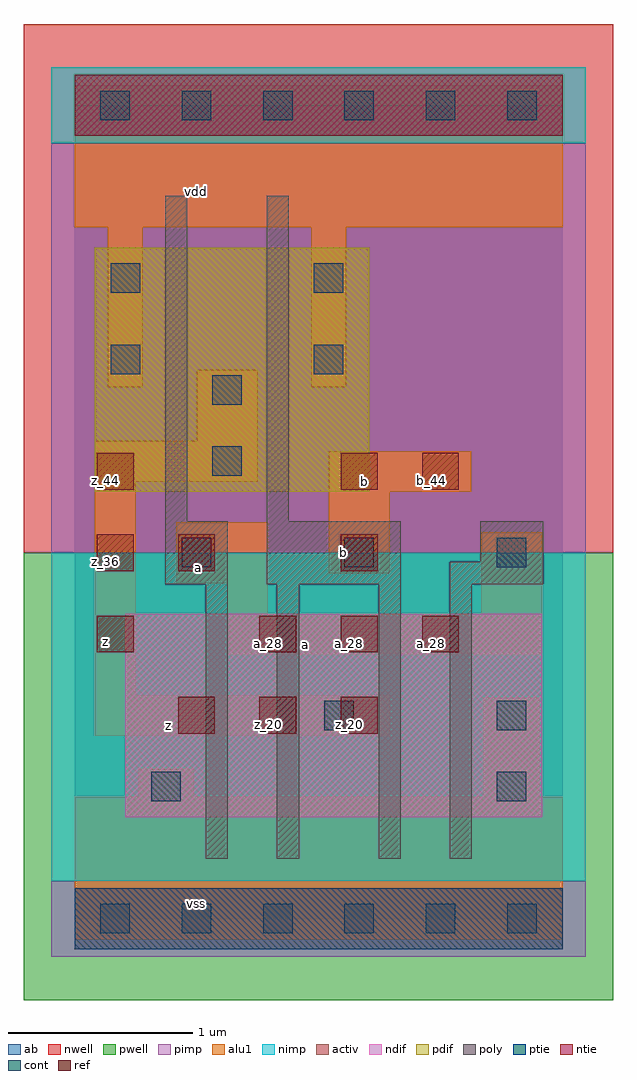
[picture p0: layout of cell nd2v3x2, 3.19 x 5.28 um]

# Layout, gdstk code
import gdstk
lib = gdstk.Library(unit=1e-6, precision=2.5e-09)
def R(c, l, rs):  # rectangles x0, y0, x1, y1
    for r in rs: c.add(gdstk.rectangle(r[:2], r[2:], *l))
def A(c, l, x, y, w, h, nx, ny, dx, dy):  # array of equal rectangles
    R(c, l, [(x+i*dx, y+j*dy, x+i*dx+w, y+j*dy+h) for i in range(nx) for j in range(ny)])
ndif = (3, 0)
pdif = (4, 0)
ntie = (5, 0)
ptie = (6, 0)
ref = (24, 0)
cont = (25, 0)
pwell = (41, 0)
nwell = (42, 0)
activ = (43, 0)
pimp = (44, 0)
nimp = (45, 0)
poly = (46, 0)
alu1 = (49, 0)
ab = (63, 0)

nd2v3x2 = lib.new_cell('nd2v3x2')
R(nd2v3x2, ndif, [(0.275,0.55,2.53,1.65)])
R(nd2v3x2, pdif, [(0.11,2.31,1.595,3.63)])
R(nd2v3x2, ntie, [(0,4.235,2.64,4.565)])
R(nd2v3x2, ptie, [(0,-0.165,2.64,0.165)])
A(nd2v3x2, ref, 0.56, 1, 0.2, 0.2, 3, 1, 0.44, 0)
A(nd2v3x2, ref, 0.12, 1.44, 0.2, 0.2, 1, 3, 0, 0.44)
A(nd2v3x2, ref, 1, 1.44, 0.2, 0.2, 3, 1, 0.44, 0)
R(nd2v3x2, ref, [(0.56,1.88,0.76,2.08), (1.44,1.88,1.64,2.08), (1.44,2.32,1.64,2.52), (1.88,2.32,2.08,2.52)])
A(nd2v3x2, cont, 0.14, -0.08, 0.16, 0.16, 6, 2, 0.44, 4.4)
R(nd2v3x2, cont, [(0.415,0.635,0.575,0.795), (2.285,0.635,2.445,0.795), (1.35,1.02,1.51,1.18), (2.285,1.02,2.445,1.18), (0.58,1.9,0.74,2.06), (1.46,1.9,1.62,2.06), (2.285,1.9,2.445,2.06), (0.745,2.395,0.905,2.555), (0.745,2.78,0.905,2.94), (0.195,2.945,0.355,3.105), (1.295,2.945,1.455,3.105), (0.195,3.385,0.355,3.545), (1.295,3.385,1.455,3.545)])
R(nd2v3x2, pwell, [(-0.275,-0.44,2.915,1.98)])
R(nd2v3x2, nwell, [(-0.275,1.98,2.915,4.84)])
R(nd2v3x2, activ, [(0,-0.165,2.64,0.165), (0.275,0.55,2.53,1.65), (0.11,2.31,1.595,3.63), (0,4.235,2.64,4.565)])
R(nd2v3x2, pimp, [(-0.125,-0.205,2.765,0.205), (-0.125,1.98,2.765,4.195)])
R(nd2v3x2, nimp, [(-0.125,0.205,2.765,1.98), (-0.125,4.195,2.765,4.605)])
R(nd2v3x2, poly, [(0.71,0.325,0.83,1.81), (1.095,0.325,1.215,1.81), (1.645,0.325,1.765,1.81), (2.03,0.325,2.15,1.81), (0.49,1.81,0.83,2.15), (1.04,1.81,1.765,2.15), (2.03,1.81,2.535,1.93), (2.195,1.93,2.535,2.15), (0.49,2.15,0.61,3.91), (1.04,2.15,1.16,3.91)])
R(nd2v3x2, alu1, [(0,-0.11,2.64,0.66), (0.345,0.66,0.645,0.81), (2.215,0.66,2.515,1.195), (0.11,0.99,1.705,1.21), (0.11,1.21,0.33,2.365), (0.825,1.43,2.53,1.65), (0.825,1.65,1.045,1.815), (2.2,1.65,2.53,2.09), (0.55,1.815,1.045,2.145), (1.375,1.87,1.705,2.31), (1.375,2.31,2.145,2.53), (0.11,2.365,0.99,2.585), (0.66,2.585,0.99,2.97), (0.18,2.875,0.37,3.74), (1.28,2.875,1.47,3.74), (0,3.74,2.64,4.51)])
R(nd2v3x2, ab, [(0,0,2.64,4.4)])
nd2v3x2.add(gdstk.Label('vss', (0.66,0.0825), layer=49, texttype=0))
nd2v3x2.add(gdstk.Label('z', (0.5075,1.045), layer=49, texttype=0))
nd2v3x2.add(gdstk.Label('a', (1.25,1.485), layer=49, texttype=0))
nd2v3x2.add(gdstk.Label('b', (1.4575,1.98), layer=49, texttype=0))
nd2v3x2.add(gdstk.Label('a', (0.6725,1.8975), layer=49, texttype=0))
nd2v3x2.add(gdstk.Label('b', (1.5675,2.365), layer=49, texttype=0))
nd2v3x2.add(gdstk.Label('z', (0.165,1.4975), layer=49, texttype=0))
nd2v3x2.add(gdstk.Label('vdd', (0.66,3.9325), layer=49, texttype=0))
nd2v3x2.add(gdstk.Label('z_20', (0.61,1.05), layer=24, texttype=0))
nd2v3x2.add(gdstk.Label('a_36', (0.61,1.93), layer=24, texttype=0))
nd2v3x2.add(gdstk.Label('z_20', (1.05,1.05), layer=24, texttype=0))
nd2v3x2.add(gdstk.Label('a_28', (1.05,1.49), layer=24, texttype=0))
nd2v3x2.add(gdstk.Label('z_20', (1.49,1.05), layer=24, texttype=0))
nd2v3x2.add(gdstk.Label('a_28', (1.49,1.49), layer=24, texttype=0))
nd2v3x2.add(gdstk.Label('b_36', (1.49,1.93), layer=24, texttype=0))
nd2v3x2.add(gdstk.Label('b_44', (1.49,2.37), layer=24, texttype=0))
nd2v3x2.add(gdstk.Label('a_28', (1.93,1.49), layer=24, texttype=0))
nd2v3x2.add(gdstk.Label('b_44', (1.93,2.37), layer=24, texttype=0))
nd2v3x2.add(gdstk.Label('z_28', (0.17,1.49), layer=24, texttype=0))
nd2v3x2.add(gdstk.Label('z_36', (0.17,1.93), layer=24, texttype=0))
nd2v3x2.add(gdstk.Label('z_44', (0.17,2.37), layer=24, texttype=0))

lib.write_gds('nd2v3x2.gds')
